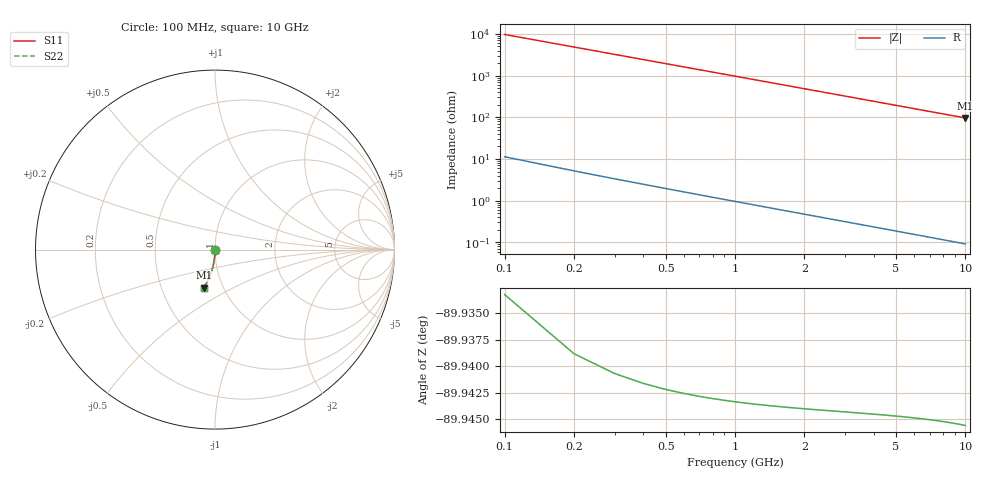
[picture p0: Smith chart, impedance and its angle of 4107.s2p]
# Hz S RI R 50.00
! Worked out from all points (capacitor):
!   100 points, 100 MHz to 10 GHz, reference 50 ohm
!   read as one part in shunt: C = 164 fF near 100 MHz
!   lowest |Z| = 96.5 ohm at 10 GHz (marker M1)
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1e8  9.26e-05 -0.00226  0.9999 -0.00289  0.9999 -0.00289  9.26e-05 -0.00226
2e8  7.12e-05 -0.00452  0.9999 -0.00578  0.9999 -0.00578  7.12e-05 -0.00452
3e8  3.65e-05 -0.00679  0.9998 -0.00867  0.9998 -0.00867  3.65e-05 -0.00679
4e8  -1.13e-05 -0.00905  0.9998 -0.0116  0.9998 -0.0116  -1.13e-05 -0.00905
5e8  -7.23e-05 -0.0113  0.9997 -0.0144  0.9997 -0.0144  -7.23e-05 -0.0113
6e8  -0.000146 -0.0136  0.9996 -0.0173  0.9996 -0.0173  -0.000146 -0.0136
7e8  -0.000234 -0.0158  0.9995 -0.0202  0.9995 -0.0202  -0.000234 -0.0158
8e8  -0.000334 -0.0181  0.9994 -0.0231  0.9994 -0.0231  -0.000334 -0.0181
9e8  -0.000447 -0.0204  0.9993 -0.026  0.9993 -0.026  -0.000447 -0.0204
1.1e9  -0.000713 -0.0249  0.9991 -0.0318  0.9991 -0.0318  -0.000713 -0.0249
1.4e9  -0.00121 -0.0317  0.9985 -0.0404  0.9985 -0.0404  -0.00121 -0.0317
1.8e9  -0.00206 -0.0407  0.9977 -0.052  0.9977 -0.052  -0.00206 -0.0407
2.1e9  -0.00283 -0.0474  0.9969 -0.0606  0.9969 -0.0606  -0.00283 -0.0474
2.5e9  -0.00404 -0.0564  0.9956 -0.0721  0.9956 -0.0721  -0.00404 -0.0564
2.9e9  -0.00546 -0.0654  0.9942 -0.0835  0.9942 -0.0835  -0.00546 -0.0654
3.4e9  -0.00752 -0.0765  0.992 -0.0978  0.992 -0.0978  -0.00752 -0.0765
4.2e9  -0.0115 -0.0942  0.9879 -0.1206  0.9879 -0.1206  -0.0115 -0.0942
5.1e9  -0.0169 -0.1138  0.9824 -0.1459  0.9824 -0.1459  -0.0169 -0.1138
5.9e9  -0.0226 -0.1309  0.9765 -0.1681  0.9765 -0.1681  -0.0226 -0.1309
6.7e9  -0.029 -0.1477  0.9699 -0.19  0.9699 -0.19  -0.029 -0.1477
8.4e9  -0.045 -0.1821  0.9533 -0.2353  0.9533 -0.2353  -0.045 -0.1821
1e10  -0.063 -0.2127  0.9348 -0.2761  0.9348 -0.2761  -0.063 -0.2127
